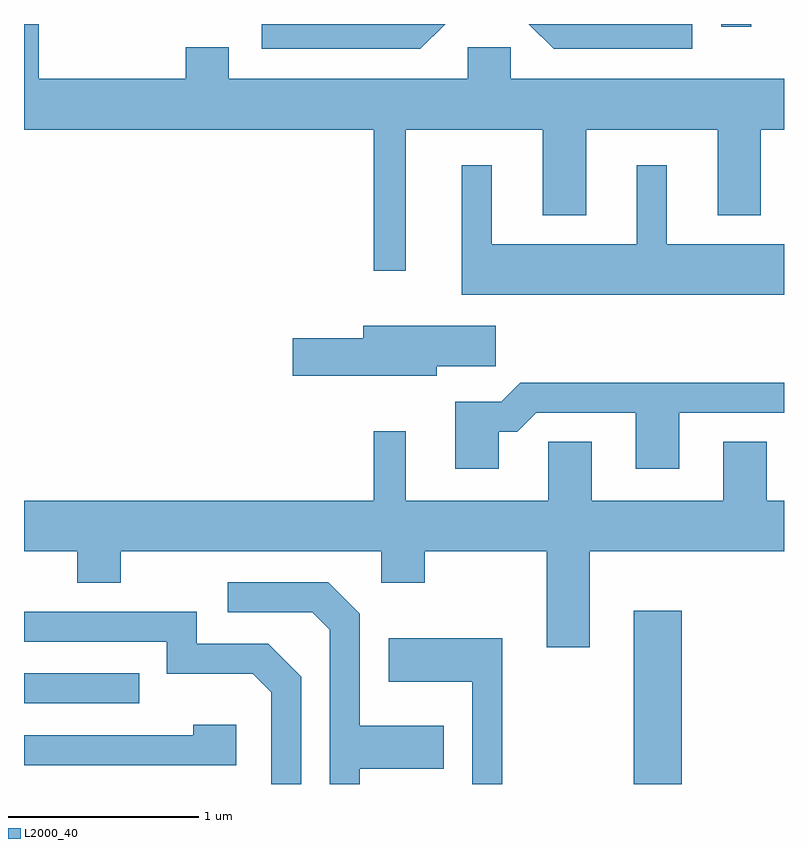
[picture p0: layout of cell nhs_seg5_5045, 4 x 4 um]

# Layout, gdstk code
import gdstk
lib = gdstk.Library(unit=1e-6, precision=1e-09)
def R(c, l, rs):  # rectangles x0, y0, x1, y1
    for r in rs: c.add(gdstk.rectangle(r[:2], r[2:], *l))
def P(c, l, *ps):  # polygons
    for p in ps: c.add(gdstk.Polygon(p, *l))
L2000_40 = (2000, 40)

nhs_seg5_5045 = lib.new_cell('nhs_seg5_5045')
R(nhs_seg5_5045, L2000_40, [(338.821,1400.072,339.074,1400.984), (335.611,1400.496,336.218,1400.654), (339.281,1404.058,339.439,1404.072)])
P(nhs_seg5_5045, L2000_40, [(337.619,1403.516),(338.341,1403.516),(338.341,1403.066),(338.569,1403.066),(338.569,1403.516),(339.261,1403.516),(339.261,1403.066),(339.489,1403.066),(339.489,1403.516),(339.611,1403.516),(339.611,1403.784),(338.174,1403.784),(338.174,1403.949),(337.946,1403.949),(337.946,1403.784),(336.689,1403.784),(336.689,1403.949),(336.461,1403.949),(336.461,1403.784),(335.689,1403.784),(335.689,1404.072),(335.611,1404.072),(335.611,1403.516),(337.451,1403.516),(337.451,1402.773),(337.619,1402.773)],
  [(339.129,1404.072),(338.268,1404.072),(338.399,1403.941),(339.129,1403.941)],
  [(337.828,1404.072),(336.861,1404.072),(336.861,1403.941),(337.697,1403.941)],
  [(339.611,1402.914),(338.994,1402.914),(338.994,1403.328),(338.836,1403.328),(338.836,1402.914),(338.074,1402.914),(338.074,1403.328),(337.916,1403.328),(337.916,1402.646),(339.611,1402.646)],
  [(337.784,1402.271),(338.094,1402.271),(338.094,1402.484),(337.396,1402.484),(337.396,1402.419),(337.026,1402.419),(337.026,1402.221),(337.784,1402.221)],
  [(338.109,1401.926),(338.207,1401.926),(338.307,1402.026),(338.831,1402.026),(338.831,1401.731),(339.059,1401.731),(339.059,1402.026),(339.611,1402.026),(339.611,1402.184),(338.224,1402.184),(338.124,1402.084),(337.881,1402.084),(337.881,1401.731),(338.109,1401.731)],
  [(338.589,1401.296),(339.611,1401.296),(339.611,1401.564),(339.519,1401.564),(339.519,1401.874),(339.291,1401.874),(339.291,1401.564),(338.599,1401.564),(338.599,1401.874),(338.371,1401.874),(338.371,1401.564),(337.619,1401.564),(337.619,1401.928),(337.451,1401.928),(337.451,1401.564),(335.611,1401.564),(335.611,1401.296),(335.891,1401.296),(335.891,1401.131),(336.119,1401.131),(336.119,1401.296),(337.491,1401.296),(337.491,1401.131),(337.719,1401.131),(337.719,1401.296),(338.361,1401.296),(338.361,1400.791),(338.589,1400.791)],
  [(337.379,1400.151),(337.819,1400.151),(337.819,1400.379),(337.379,1400.379),(337.379,1400.967),(337.212,1401.134),(336.683,1401.134),(336.683,1400.976),(337.129,1400.976),(337.221,1400.884),(337.221,1400.072),(337.379,1400.072)],
  [(337.069,1400.637),(336.897,1400.809),(336.519,1400.809),(336.519,1400.979),(335.611,1400.979),(335.611,1400.821),(336.361,1400.821),(336.361,1400.651),(336.814,1400.651),(336.911,1400.554),(336.911,1400.072),(337.069,1400.072)],
  [(338.129,1400.839),(337.531,1400.839),(337.531,1400.611),(337.971,1400.611),(337.971,1400.072),(338.129,1400.072)],
  [(336.729,1400.384),(336.501,1400.384),(336.501,1400.329),(335.611,1400.329),(335.611,1400.171),(336.729,1400.171)])

lib.write_gds('nhs_seg5_5045.gds')
